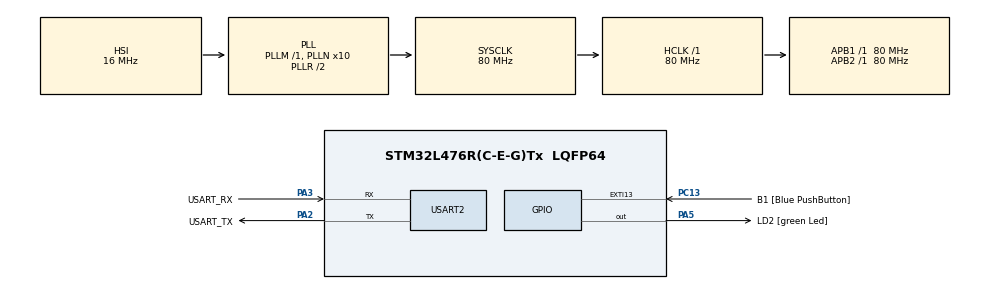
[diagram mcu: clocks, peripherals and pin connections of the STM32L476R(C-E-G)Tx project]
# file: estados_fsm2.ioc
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Mcu.Family=STM32L4
Mcu.Name=STM32L476R(C-E-G)Tx
Mcu.Package=LQFP64
NVIC.PriorityGroup=NVIC_PRIORITYGROUP_4
PA13\ (JTMS-SWDIO).GPIO_Label=TMS
PA13\ (JTMS-SWDIO).Mode=Serial_Wire
PA13\ (JTMS-SWDIO).Signal=SYS_JTMS-SWDIO
PA14\ (JTCK-SWCLK).GPIO_Label=TCK
PA14\ (JTCK-SWCLK).Mode=Serial_Wire
PA14\ (JTCK-SWCLK).Signal=SYS_JTCK-SWCLK
PA2.GPIO_Label=USART_TX
PA2.GPIO_Mode=GPIO_MODE_AF_PP
PA2.GPIO_PuPd=GPIO_NOPULL
PA2.GPIO_Speed=GPIO_SPEED_FREQ_VERY_HIGH
PA2.Mode=Asynchronous
PA2.Signal=USART2_TX
PA3.GPIO_Label=USART_RX
PA3.GPIO_Mode=GPIO_MODE_AF_PP
PA3.GPIO_PuPd=GPIO_NOPULL
PA3.GPIO_Speed=GPIO_SPEED_FREQ_VERY_HIGH
PA3.Mode=Asynchronous
PA3.Signal=USART2_RX
PA5.GPIO_Label=LD2 [green Led]
PA5.GPIO_ModeDefaultOutputPP=GPIO_MODE_OUTPUT_PP
PA5.GPIO_PuPd=GPIO_NOPULL
PA5.GPIO_Speed=GPIO_SPEED_FREQ_LOW
PA5.Signal=GPIO_Output
PB3\ (JTDO-TRACESWO).GPIO_Label=SWO
PB3\ (JTDO-TRACESWO).Signal=SYS_JTDO-SWO
PC13.GPIO_Label=B1 [Blue PushButton]
PC13.GPIO_ModeDefaultEXTI=GPIO_MODE_IT_FALLING
PC13.GPIO_PuPd=GPIO_NOPULL
PC13.Signal=GPXTI13
PC14-OSC32_IN\ (PC14).Mode=LSE-External-Oscillator
PC14-OSC32_IN\ (PC14).Signal=RCC_OSC32_IN
PC15-OSC32_OUT\ (PC15).Mode=LSE-External-Oscillator
PC15-OSC32_OUT\ (PC15).Signal=RCC_OSC32_OUT
PH0-OSC_IN\ (PH0).Signal=RCC_OSC_IN
PH1-OSC_OUT\ (PH1).Signal=RCC_OSC_OUT
ProjectManager.HeapSize=0x200
ProjectManager.StackSize=0x400
ProjectManager.TargetToolchain=STM32CubeIDE
RCC.ADCFreq_Value=64000000
RCC.AHBFreq_Value=80000000
RCC.APB1Freq_Value=80000000
RCC.APB1TimFreq_Value=80000000
RCC.APB2Freq_Value=80000000
RCC.APB2TimFreq_Value=80000000
RCC.CortexFreq_Value=80000000
RCC.HCLKFreq_Value=80000000
RCC.HSE_VALUE=8000000
RCC.HSI_VALUE=16000000
RCC.MSI_VALUE=4000000
RCC.PLLN=10
RCC.PLLSourceVirtual=RCC_PLLSOURCE_HSI
RCC.PREFETCH_ENABLE=1
RCC.SYSCLKFreq_VALUE=80000000
RCC.SYSCLKSource=RCC_SYSCLKSOURCE_PLLCLK
RCC.USBFreq_Value=64000000
RCC.VCOOutputFreq_Value=160000000
USART2.VirtualMode-Asynchronous=VM_ASYNC
board=NUCLEO-L476RG

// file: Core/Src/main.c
/* USER CODE BEGIN Header */
/**
  ******************************************************************************
  * @file           : main.c
  * @brief          : Main program body
  ******************************************************************************
  * @attention
  *
  * <h2><center>&copy; Copyright (c) 2020 STMicroelectronics.
  * All rights reserved.</center></h2>
  *
  * This software component is licensed by ST under BSD 3-Clause license,
  * the "License"; You may not use this file except in compliance with the
  * License. You may obtain a copy of the License at:
  *                        opensource.org/licenses/BSD-3-Clause
  *
  ******************************************************************************
  */
/* USER CODE END Header */

#include "main.h"

UART_HandleTypeDef huart2;

void SystemClock_Config(void);
static void MX_GPIO_Init(void);
static void MX_USART2_UART_Init(void);

int main(void)
{

  /* MCU Configuration--------------------------------------------------------*/

  /* Reset of all peripherals, Initializes the Flash interface and the Systick. */
  HAL_Init();

  /* Configure the system clock */
  SystemClock_Config();

  /* Initialize all configured peripherals */
  MX_GPIO_Init();
  MX_USART2_UART_Init();
  /* USER CODE BEGIN 2 */

  current_state = LED_ON_UP;

  /* USER CODE END 2 */

  /* Infinite loop */
  while (1)
  {

	new_event = get_new_event();

	if ((new_event >= 0) && (new_event < MAX_EVENTS) &&
		(current_state >= 0) && (current_state < MAX_STATES)) {
		state_table[current_state][new_event]();
	}
	else {

	}

  }
}

void SystemClock_Config(void)
{
  RCC_OscInitTypeDef RCC_OscInitStruct = {0};
  RCC_ClkInitTypeDef RCC_ClkInitStruct = {0};
  RCC_PeriphCLKInitTypeDef PeriphClkInit = {0};

  /** Initializes the CPU, AHB and APB busses clocks
  */
  RCC_OscInitStruct.OscillatorType = RCC_OSCILLATORTYPE_HSI;
  RCC_OscInitStruct.HSIState = RCC_HSI_ON;
  RCC_OscInitStruct.HSICalibrationValue = RCC_HSICALIBRATION_DEFAULT;
  RCC_OscInitStruct.PLL.PLLState = RCC_PLL_ON;
  RCC_OscInitStruct.PLL.PLLSource = RCC_PLLSOURCE_HSI;
  RCC_OscInitStruct.PLL.PLLM = 1;
  RCC_OscInitStruct.PLL.PLLN = 10;
  RCC_OscInitStruct.PLL.PLLP = RCC_PLLP_DIV7;
  RCC_OscInitStruct.PLL.PLLQ = RCC_PLLQ_DIV2;
  RCC_OscInitStruct.PLL.PLLR = RCC_PLLR_DIV2;
  if (HAL_RCC_OscConfig(&RCC_OscInitStruct) != HAL_OK)
  {
    Error_Handler();
  }
  /** Initializes the CPU, AHB and APB busses clocks
  */
  RCC_ClkInitStruct.ClockType = RCC_CLOCKTYPE_HCLK|RCC_CLOCKTYPE_SYSCLK
                              |RCC_CLOCKTYPE_PCLK1|RCC_CLOCKTYPE_PCLK2;
  RCC_ClkInitStruct.SYSCLKSource = RCC_SYSCLKSOURCE_PLLCLK;
  RCC_ClkInitStruct.AHBCLKDivider = RCC_SYSCLK_DIV1;
  RCC_ClkInitStruct.APB1CLKDivider = RCC_HCLK_DIV1;
  RCC_ClkInitStruct.APB2CLKDivider = RCC_HCLK_DIV1;

  if (HAL_RCC_ClockConfig(&RCC_ClkInitStruct, FLASH_LATENCY_4) != HAL_OK)
  {
    Error_Handler();
  }
  PeriphClkInit.PeriphClockSelection = RCC_PERIPHCLK_USART2;
  PeriphClkInit.Usart2ClockSelection = RCC_USART2CLKSOURCE_PCLK1;
  if (HAL_RCCEx_PeriphCLKConfig(&PeriphClkInit) != HAL_OK)
  {
    Error_Handler();
  }
  /** Configure the main internal regulator output voltage
  */
  if (HAL_PWREx_ControlVoltageScaling(PWR_REGULATOR_VOLTAGE_SCALE1) != HAL_OK)
  {
    Error_Handler();
  }
}

static void MX_USART2_UART_Init(void)
{

  huart2.Instance = USART2;
  huart2.Init.BaudRate = 115200;
  huart2.Init.WordLength = UART_WORDLENGTH_8B;
  huart2.Init.StopBits = UART_STOPBITS_1;
  huart2.Init.Parity = UART_PARITY_NONE;
  huart2.Init.Mode = UART_MODE_TX_RX;
  huart2.Init.HwFlowCtl = UART_HWCONTROL_NONE;
  huart2.Init.OverSampling = UART_OVERSAMPLING_16;
  huart2.Init.OneBitSampling = UART_ONE_BIT_SAMPLE_DISABLE;
  huart2.AdvancedInit.AdvFeatureInit = UART_ADVFEATURE_NO_INIT;
  if (HAL_UART_Init(&huart2) != HAL_OK)
  {
    Error_Handler();
  }

}

static void MX_GPIO_Init(void)
{
  GPIO_InitTypeDef GPIO_InitStruct = {0};

  /* GPIO Ports Clock Enable */
  __HAL_RCC_GPIOC_CLK_ENABLE();
  __HAL_RCC_GPIOH_CLK_ENABLE();
  __HAL_RCC_GPIOA_CLK_ENABLE();
  __HAL_RCC_GPIOB_CLK_ENABLE();

  /*Configure GPIO pin Output Level */
  HAL_GPIO_WritePin(LD2_GPIO_Port, LD2_Pin, GPIO_PIN_RESET);

  /*Configure GPIO pin : B1_Pin */
  GPIO_InitStruct.Pin = B1_Pin;
  GPIO_InitStruct.Mode = GPIO_MODE_IT_FALLING;
  GPIO_InitStruct.Pull = GPIO_NOPULL;
  HAL_GPIO_Init(B1_GPIO_Port, &GPIO_InitStruct);

  /*Configure GPIO pin : LD2_Pin */
  GPIO_InitStruct.Pin = LD2_Pin;
  GPIO_InitStruct.Mode = GPIO_MODE_OUTPUT_PP;
  GPIO_InitStruct.Pull = GPIO_NOPULL;
  GPIO_InitStruct.Speed = GPIO_SPEED_FREQ_LOW;
  HAL_GPIO_Init(LD2_GPIO_Port, &GPIO_InitStruct);

}

/* USER CODE BEGIN 4 */

transition state_table[MAX_STATES][MAX_EVENTS] = {
	{pb_up_on_up,		pb_down_on_up},			// LED_ON_UP
	{pb_up_on_down,		pb_down_on_down},		// LED_ON_DOWN
	{pb_up_off_up,		pb_down_off_up},		// LED_OFF_UP
	{pb_up_off_down,	pb_down_off_down},		// LED_OFF_DOWN
	{pb_up_blink_up,	pb_down_blink_up},		// LED_BLINK_UP
	{pb_up_blink_down,	pb_down_blink_down},	// LED_BLINK_DOWN
	{pb_up_morse_up,	pb_down_morse_up},		// LED_MORSE_UP
	{pb_up_morse_down,	pb_down_morse_down}		// LED_MORSE_DOWN
};

void pb_up_on_up (void) {
	set_output(current_state);
	current_state = LED_ON_UP;
}

void pb_down_on_up (void) {
	set_output(current_state);
	current_state = LED_ON_DOWN;
}

void pb_up_on_down (void) {
	set_output(current_state);
	current_state = LED_OFF_UP;
}

void pb_down_on_down (void) {
	set_output(current_state);
	current_state = LED_ON_DOWN;
}

void pb_up_off_up (void) {
	set_output(current_state);
	current_state = LED_OFF_UP;
}

void pb_down_off_up (void) {
	set_output(current_state);
	current_state = LED_OFF_DOWN;
}

void pb_up_off_down (void) {
	set_output(current_state);
	current_state = LED_BLINK_UP;
}

void pb_down_off_down (void) {
	set_output(current_state);
	current_state = LED_OFF_DOWN;
}

void pb_up_blink_up (void) {
	set_output(current_state);
	current_state = LED_BLINK_UP;
}

void pb_down_blink_up (void) {
	set_output(current_state);
	current_state = LED_BLINK_DOWN;
}

void pb_up_blink_down (void) {
	set_output(current_state);
	current_state = LED_MORSE_UP;
}

void pb_down_blink_down (void) {
	set_output(current_state);
	current_state = LED_BLINK_DOWN;
}

void pb_up_morse_up (void) {
	set_output(current_state);
	current_state = LED_MORSE_UP;
}

void pb_down_morse_up (void) {
	set_output(current_state);
	current_state = LED_MORSE_DOWN;
}

void pb_up_morse_down (void) {
	set_output(current_state);
	current_state = LED_ON_UP;
}

void pb_down_morse_down (void) {
	set_output(current_state);
	current_state = LED_MORSE_DOWN;
}

uint8_t get_new_event(void) {
	if (!HAL_GPIO_ReadPin(B1_GPIO_Port, B1_Pin)) {
		return PB_DOWN;
	}
	else {
		return PB_UP;
	}
}

void set_output(uint8_t current_state) {
	switch (current_state) {
		case LED_ON_UP:
		case LED_ON_DOWN:
			HAL_GPIO_WritePin(LD2_GPIO_Port, LD2_Pin, SET);
			break;
		case LED_OFF_UP:
		case LED_OFF_DOWN:
			HAL_GPIO_WritePin(LD2_GPIO_Port, LD2_Pin, RESET);
			break;
		case LED_BLINK_UP:
		case LED_BLINK_DOWN:
			HAL_GPIO_TogglePin(LD2_GPIO_Port, LD2_Pin);
			HAL_Delay(1000);
			break;
		case LED_MORSE_UP:
		case LED_MORSE_DOWN:
			HAL_GPIO_WritePin(LD2_GPIO_Port, LD2_Pin, SET);
			HAL_Delay(100);
			HAL_GPIO_WritePin(LD2_GPIO_Port, LD2_Pin, RESET);
			HAL_Delay(100);
			HAL_GPIO_WritePin(LD2_GPIO_Port, LD2_Pin, SET);
			HAL_Delay(300);
			HAL_GPIO_WritePin(LD2_GPIO_Port, LD2_Pin, RESET);
			HAL_Delay(100);
	}
}

/* USER CODE END 4 */

void Error_Handler(void)
{
}

/************************ (C) COPYRIGHT STMicroelectronics *****END OF FILE****/
